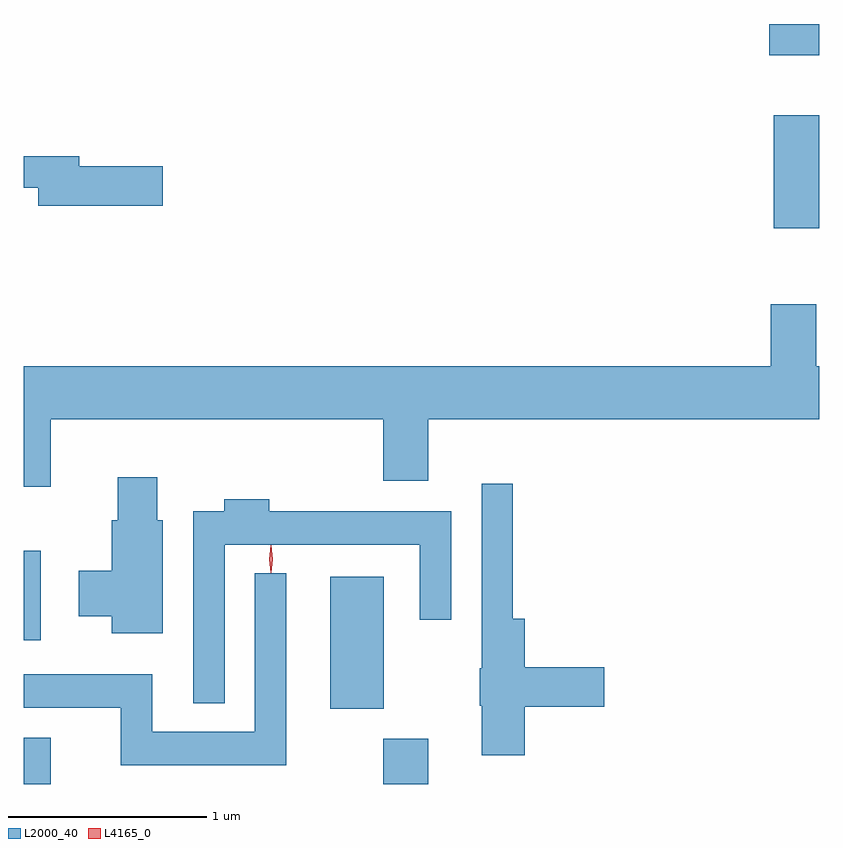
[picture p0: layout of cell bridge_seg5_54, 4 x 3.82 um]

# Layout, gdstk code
import gdstk
lib = gdstk.Library(unit=1e-6, precision=1e-09)
def R(c, l, rs):  # rectangles x0, y0, x1, y1
    for r in rs: c.add(gdstk.rectangle(r[:2], r[2:], *l))
def P(c, l, *ps):  # polygons
    for p in ps: c.add(gdstk.Polygon(p, *l))
L2000_40 = (2000, 40)
L4165_0 = (4165, 0)

bridge_seg5_54 = lib.new_cell('bridge_seg5_54')
R(bridge_seg5_54, L2000_40, [(1318.164,1466.062,1318.299,1466.294), (1319.971,1466.062,1320.199,1466.289), (1319.706,1466.441,1319.974,1467.104), (1318.164,1466.786,1318.249,1467.234), (1321.936,1468.856,1322.164,1469.424), (1321.913,1469.726,1322.164,1469.884)])
P(bridge_seg5_54, L2000_40, [(1318.864,1469.169),(1318.444,1469.169),(1318.444,1469.219),(1318.164,1469.219),(1318.164,1469.061),(1318.236,1469.061),(1318.236,1468.971),(1318.864,1468.971)],
  [(1318.299,1467.896),(1319.971,1467.896),(1319.971,1467.586),(1320.199,1467.586),(1320.199,1467.896),(1322.164,1467.896),(1322.164,1468.164),(1322.149,1468.164),(1322.149,1468.474),(1321.921,1468.474),(1321.921,1468.164),(1318.164,1468.164),(1318.164,1467.556),(1318.299,1467.556)],
  [(1318.864,1467.389),(1318.834,1467.389),(1318.834,1467.604),(1318.636,1467.604),(1318.636,1467.389),(1318.606,1467.389),(1318.606,1467.134),(1318.441,1467.134),(1318.441,1466.906),(1318.606,1466.906),(1318.606,1466.821),(1318.864,1466.821)],
  [(1320.684,1466.451),(1321.084,1466.451),(1321.084,1466.649),(1320.684,1466.649),(1320.684,1466.894),(1320.624,1466.894),(1320.624,1467.573),(1320.466,1467.573),(1320.466,1466.645),(1320.456,1466.645),(1320.456,1466.455),(1320.466,1466.455),(1320.466,1466.206),(1320.684,1466.206)],
  [(1319.174,1467.266),(1320.156,1467.266),(1320.156,1466.888),(1320.314,1466.888),(1320.314,1467.434),(1319.399,1467.434),(1319.399,1467.494),(1319.171,1467.494),(1319.171,1467.434),(1319.016,1467.434),(1319.016,1466.468),(1319.174,1466.468)],
  [(1319.484,1467.123),(1319.326,1467.123),(1319.326,1466.324),(1318.809,1466.324),(1318.809,1466.614),(1318.164,1466.614),(1318.164,1466.446),(1318.651,1466.446),(1318.651,1466.156),(1319.484,1466.156)])
P(bridge_seg5_54, L4165_0, [(1319.407,1467.123),(1319.407,1467.124),(1319.398,1467.193),(1319.407,1467.262),(1319.407,1467.263),(1319.408,1467.262),(1319.417,1467.193),(1319.408,1467.124)])

lib.write_gds('bridge_seg5_54.gds')
